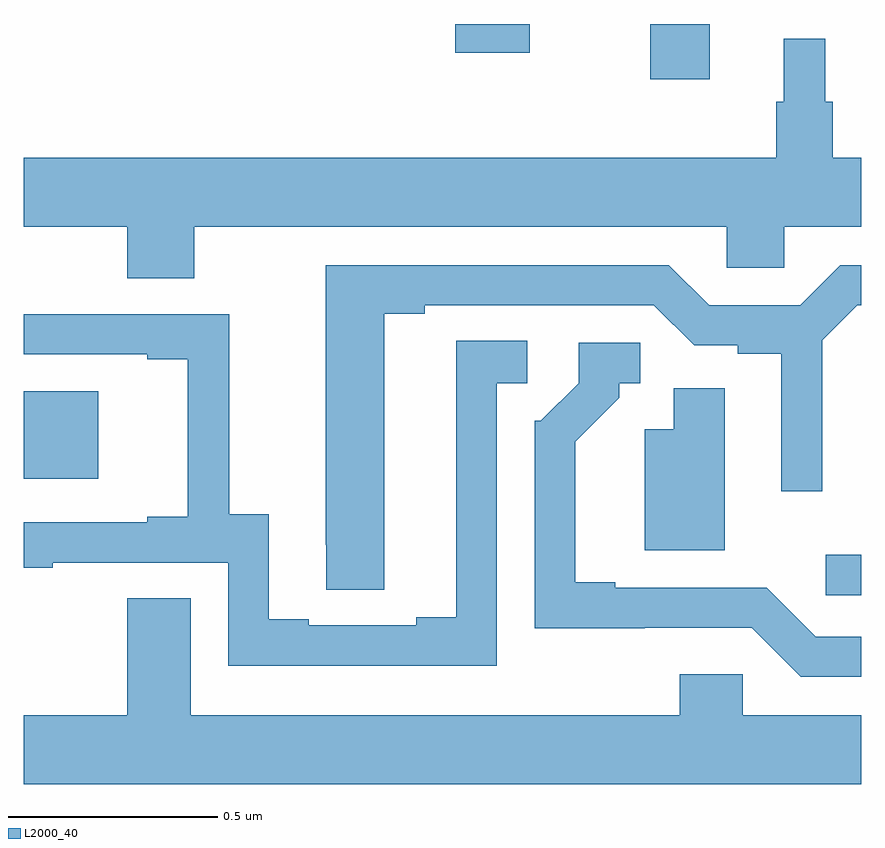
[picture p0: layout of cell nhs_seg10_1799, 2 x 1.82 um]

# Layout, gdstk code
import gdstk
lib = gdstk.Library(unit=1e-6, precision=1e-09)
def R(c, l, rs):  # rectangles x0, y0, x1, y1
    for r in rs: c.add(gdstk.rectangle(r[:2], r[2:], *l))
def P(c, l, *ps):  # polygons
    for p in ps: c.add(gdstk.Polygon(p, *l))
L2000_40 = (2000, 40)

nhs_seg10_1799 = lib.new_cell('nhs_seg10_1799')
R(nhs_seg10_1799, L2000_40, [(134.916,1266.135,135,1266.232), (133,1266.413,133.177,1266.622), (134.497,1267.368,134.638,1267.5), (134.03,1267.431,134.208,1267.5)])
P(nhs_seg10_1799, L2000_40, [(133.407,1267.016),(134.679,1267.016),(134.679,1266.918),(134.817,1266.918),(134.817,1267.016),(135,1267.016),(135,1267.18),(134.933,1267.18),(134.933,1267.314),(134.914,1267.314),(134.914,1267.465),(134.816,1267.465),(134.816,1267.314),(134.797,1267.314),(134.797,1267.18),(133,1267.18),(133,1267.016),(133.247,1267.016),(133.247,1266.892),(133.407,1266.892)],
  [(133.861,1266.808),(133.957,1266.808),(133.957,1266.828),(134.505,1266.828),(134.601,1266.732),(134.706,1266.732),(134.706,1266.712),(134.81,1266.712),(134.81,1266.384),(134.907,1266.384),(134.907,1266.744),(134.991,1266.828),(135,1266.828),(135,1266.924),(134.951,1266.924),(134.855,1266.828),(134.637,1266.828),(134.541,1266.924),(133.721,1266.924),(133.721,1266.256),(133.722,1266.256),(133.722,1266.148),(133.861,1266.148)],
  [(134.13,1266.642),(134.203,1266.642),(134.203,1266.743),(134.033,1266.743),(134.033,1266.083),(133.937,1266.083),(133.937,1266.063),(133.681,1266.063),(133.681,1266.078),(133.585,1266.078),(133.585,1266.329),(133.491,1266.329),(133.491,1266.807),(133,1266.807),(133,1266.711),(133.295,1266.711),(133.295,1266.699),(133.391,1266.699),(133.391,1266.322),(133.295,1266.322),(133.295,1266.309),(133,1266.309),(133,1266.201),(133.069,1266.201),(133.069,1266.213),(133.488,1266.213),(133.488,1265.967),(134.13,1265.967)],
  [(135,1266.036),(134.892,1266.036),(134.775,1266.153),(134.413,1266.153),(134.413,1266.166),(134.317,1266.166),(134.317,1266.502),(134.422,1266.607),(134.422,1266.642),(134.472,1266.642),(134.472,1266.738),(134.325,1266.738),(134.325,1266.642),(134.235,1266.552),(134.22,1266.552),(134.22,1266.056),(134.483,1266.056),(134.483,1266.057),(134.739,1266.057),(134.856,1265.94),(135,1265.94)],
  [(134.674,1266.63),(134.552,1266.63),(134.552,1266.532),(134.483,1266.532),(134.483,1266.242),(134.674,1266.242)],
  [(135,1265.848),(134.718,1265.848),(134.718,1265.946),(134.567,1265.946),(134.567,1265.848),(133.399,1265.848),(133.399,1266.128),(133.247,1266.128),(133.247,1265.848),(133,1265.848),(133,1265.684),(135,1265.684)])

lib.write_gds('nhs_seg10_1799.gds')
